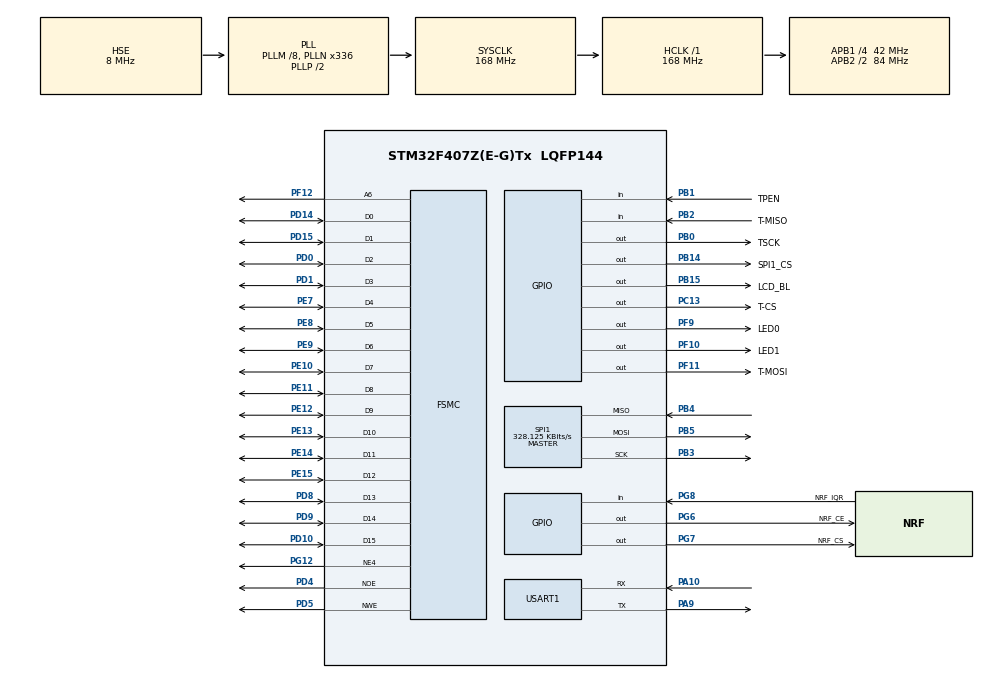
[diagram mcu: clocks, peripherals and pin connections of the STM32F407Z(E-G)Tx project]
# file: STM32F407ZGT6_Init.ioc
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FSMC.AddressSetupTime1=0x0F
FSMC.BusTurnAroundDuration1=0
FSMC.DataSetupTime1=60
FSMC.ExtendedAddressSetupTime1=9
FSMC.ExtendedBusTurnAroundDuration1=0
FSMC.ExtendedDataSetupTime1=9
FSMC.ExtendedMode1=FSMC_EXTENDED_MODE_ENABLE
Mcu.Family=STM32F4
Mcu.Name=STM32F407Z(E-G)Tx
Mcu.Package=LQFP144
NVIC.PriorityGroup=NVIC_PRIORITYGROUP_4
NVIC.USART1_IRQn=true\:2\:0\:true\:false\:true\:true\:true\:true
PA10.Mode=Asynchronous
PA10.Signal=USART1_RX
PA13.Mode=Serial_Wire
PA13.Signal=SYS_JTMS-SWDIO
PA14.Mode=Serial_Wire
PA14.Signal=SYS_JTCK-SWCLK
PA9.Mode=Asynchronous
PA9.Signal=USART1_TX
PB0.GPIO_Label=TSCK
PB0.Signal=GPIO_Output
PB1.GPIO_Label=TPEN
PB1.GPIO_PuPd=GPIO_PULLUP
PB1.Signal=GPIO_Input
PB14.GPIO_Label=SPI1_CS
PB14.GPIO_PuPd=GPIO_PULLUP
PB14.GPIO_Speed=GPIO_SPEED_FREQ_MEDIUM
PB14.Signal=GPIO_Output
PB15.GPIO_Label=LCD_BL
PB15.Signal=GPIO_Output
PB2.GPIO_Label=T-MISO
PB2.GPIO_PuPd=GPIO_PULLUP
PB2.Signal=GPIO_Input
PB3.Mode=Full_Duplex_Master
PB3.Signal=SPI1_SCK
PB4.Mode=Full_Duplex_Master
PB4.Signal=SPI1_MISO
PB5.Mode=Full_Duplex_Master
PB5.Signal=SPI1_MOSI
PC13-ANTI_TAMP.GPIO_Label=T-CS
PC13-ANTI_TAMP.Signal=GPIO_Output
PD0.Signal=FSMC_D2_DA2
PD1.Signal=FSMC_D3_DA3
PD10.Signal=FSMC_D15_DA15
PD14.Signal=FSMC_D0_DA0
PD15.Signal=FSMC_D1_DA1
PD4.Signal=FSMC_NOE
PD5.Signal=FSMC_NWE
PD8.Signal=FSMC_D13_DA13
PD9.Signal=FSMC_D14_DA14
PE10.Signal=FSMC_D7_DA7
PE11.Signal=FSMC_D8_DA8
PE12.Signal=FSMC_D9_DA9
PE13.Signal=FSMC_D10_DA10
PE14.Signal=FSMC_D11_DA11
PE15.Signal=FSMC_D12_DA12
PE7.Signal=FSMC_D4_DA4
PE8.Signal=FSMC_D5_DA5
PE9.Signal=FSMC_D6_DA6
PF10.GPIO_Label=LED1
PF10.GPIO_PuPd=GPIO_PULLUP
PF10.Signal=GPIO_Output
PF11.GPIO_Label=T-MOSI
PF11.Signal=GPIO_Output
PF12.Signal=FSMC_A6
PF9.GPIO_Label=LED0
PF9.GPIO_PuPd=GPIO_PULLUP
PF9.Signal=GPIO_Output
PG12.Mode=NorPsramChipSelect4_1
PG12.Signal=FSMC_NE4
PG6.GPIO_Label=NRF_CE
PG6.GPIO_PuPd=GPIO_PULLUP
PG6.Signal=GPIO_Output
PG7.GPIO_Label=NRF_CS
PG7.GPIO_PuPd=GPIO_PULLUP
PG7.Signal=GPIO_Output
PG8.GPIO_Label=NRF_IQR
PG8.GPIO_PuPd=GPIO_PULLUP
PG8.Signal=GPIO_Input
PH0-OSC_IN.Mode=HSE-External-Oscillator
PH0-OSC_IN.Signal=RCC_OSC_IN
PH1-OSC_OUT.Mode=HSE-External-Oscillator
PH1-OSC_OUT.Signal=RCC_OSC_OUT
ProjectManager.HeapSize=0x800
ProjectManager.StackSize=0x1000
ProjectManager.TargetToolchain=MDK-ARM V5.32
RCC.48MHZClocksFreq_Value=84000000
RCC.AHBFreq_Value=168000000
RCC.APB1CLKDivider=RCC_HCLK_DIV4
RCC.APB1Freq_Value=42000000
RCC.APB1TimFreq_Value=84000000
RCC.APB2CLKDivider=RCC_HCLK_DIV2
RCC.APB2Freq_Value=84000000
RCC.APB2TimFreq_Value=168000000
RCC.CortexFreq_Value=168000000
RCC.HCLKFreq_Value=168000000
RCC.HSE_VALUE=8000000
RCC.HSI_VALUE=16000000
RCC.LSE_VALUE=32768
RCC.PLLM=8
RCC.PLLN=336
RCC.PLLSourceVirtual=RCC_PLLSOURCE_HSE
RCC.SYSCLKFreq_VALUE=168000000
RCC.SYSCLKSource=RCC_SYSCLKSOURCE_PLLCLK
RCC.VCOOutputFreq_Value=336000000
SH.FSMC_A6.0=FSMC_A6,A6_1
SH.FSMC_D0_DA0.0=FSMC_D0,16b-d1
SH.FSMC_D10_DA10.0=FSMC_D10,16b-d1
SH.FSMC_D11_DA11.0=FSMC_D11,16b-d1
SH.FSMC_D12_DA12.0=FSMC_D12,16b-d1
SH.FSMC_D13_DA13.0=FSMC_D13,16b-d1
SH.FSMC_D14_DA14.0=FSMC_D14,16b-d1
SH.FSMC_D15_DA15.0=FSMC_D15,16b-d1
SH.FSMC_D1_DA1.0=FSMC_D1,16b-d1
SH.FSMC_D2_DA2.0=FSMC_D2,16b-d1
SH.FSMC_D3_DA3.0=FSMC_D3,16b-d1
SH.FSMC_D4_DA4.0=FSMC_D4,16b-d1
SH.FSMC_D5_DA5.0=FSMC_D5,16b-d1
SH.FSMC_D6_DA6.0=FSMC_D6,16b-d1
SH.FSMC_D7_DA7.0=FSMC_D7,16b-d1
SH.FSMC_D8_DA8.0=FSMC_D8,16b-d1
SH.FSMC_D9_DA9.0=FSMC_D9,16b-d1
SH.FSMC_NOE.0=FSMC_NOE,Lcd1
SH.FSMC_NWE.0=FSMC_NWE,Lcd1
SPI1.BaudRatePrescaler=SPI_BAUDRATEPRESCALER_256
SPI1.CalculateBaudRate=328.125 KBits/s
SPI1.Direction=SPI_DIRECTION_2LINES
SPI1.Mode=SPI_MODE_MASTER
SPI1.VirtualType=VM_MASTER
TIM6.Prescaler=83
USART1.VirtualMode=VM_ASYNC
VP_TIM6_VS_ClockSourceINT.Mode=Enable_Timer
board=custom

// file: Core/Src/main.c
/* USER CODE BEGIN Header */
/**
  ******************************************************************************
  * @file           : main.c
  * @brief          : Main program body
  ******************************************************************************
  * @attention
  *
  * Copyright (c) 2024 STMicroelectronics.
  * All rights reserved.
  *
  * This software is licensed under terms that can be found in the LICENSE file
  * in the root directory of this software component.
  * If no LICENSE file comes with this software, it is provided AS-IS.
  *
  ******************************************************************************
  */
/* USER CODE END Header */
#include "main.h"
#include "spi.h"
#include "tim.h"
#include "usart.h"
#include "gpio.h"
#include "fsmc.h"

/* USER CODE BEGIN Includes */
#include "lcd.h"
#include "touch.h"
#include "nrf24L01.h"
/* USER CODE END Includes */

void SystemClock_Config(void);

int main(void)
{

  /* MCU Configuration--------------------------------------------------------*/

  /* Reset of all peripherals, Initializes the Flash interface and the Systick. */
  HAL_Init();

  /* Configure the system clock */
  SystemClock_Config();

  /* Initialize all configured peripherals */
  MX_GPIO_Init();
  MX_FSMC_Init();
  MX_USART1_UART_Init();
  MX_TIM6_Init();
  MX_SPI1_Init();
  /* USER CODE BEGIN 2 */
	LCD_Init();
	NRF24L01_Init();
	// 开启串口接收中断
  HAL_UART_Receive_IT(&huart1, (uint8_t *)&usart1Recv.recvData, 1);
	while(NRF24L01_Check());
	printf("NRF24L01 is detected.\r\n");
	Demo_Menu();
  /* USER CODE END 2 */

  /* Infinite loop */
  /* USER CODE BEGIN WHILE */
  while (1)
  {
		if(TP_Scan(1))
			printf("x is 0x%X,y is 0x%X\r\n",tp_dev.x[0],tp_dev.y[0]);
		if(usart1Recv.recvFlag == 1)
		{
			usart1Recv.recvFlag = 0;
			if(strcmp((const char*)usart1Recv.recvBuff, "LED\r") == 0)
			{
				// 发送数据
				printf("%s",usart1Recv.recvBuff);
				printf("temp is %d\r\n",temp);
				HAL_GPIO_TogglePin(LED0_GPIO_Port,LED0_Pin);
				HAL_GPIO_TogglePin(LED1_GPIO_Port,LED1_Pin);
			}
			if(strcmp((const char*)usart1Recv.recvBuff, "NRF\r") == 0)
			{
				// 发送数据
				printf("%s",usart1Recv.recvBuff);

			}
			// 发送数据
			printf("UART_FLAG\r\n");
			memset(usart1Recv.recvBuff,0,sizeof(usart1Recv.recvBuff));
		}
    /* USER CODE END WHILE */

  }
}

void SystemClock_Config(void)
{
  RCC_OscInitTypeDef RCC_OscInitStruct = {0};
  RCC_ClkInitTypeDef RCC_ClkInitStruct = {0};

  /** Configure the main internal regulator output voltage
  */
  __HAL_RCC_PWR_CLK_ENABLE();
  __HAL_PWR_VOLTAGESCALING_CONFIG(PWR_REGULATOR_VOLTAGE_SCALE1);

  /** Initializes the RCC Oscillators according to the specified parameters
  * in the RCC_OscInitTypeDef structure.
  */
  RCC_OscInitStruct.OscillatorType = RCC_OSCILLATORTYPE_HSE;
  RCC_OscInitStruct.HSEState = RCC_HSE_ON;
  RCC_OscInitStruct.PLL.PLLState = RCC_PLL_ON;
  RCC_OscInitStruct.PLL.PLLSource = RCC_PLLSOURCE_HSE;
  RCC_OscInitStruct.PLL.PLLM = 8;
  RCC_OscInitStruct.PLL.PLLN = 336;
  RCC_OscInitStruct.PLL.PLLP = RCC_PLLP_DIV2;
  RCC_OscInitStruct.PLL.PLLQ = 4;
  if (HAL_RCC_OscConfig(&RCC_OscInitStruct) != HAL_OK)
  {
    Error_Handler();
  }

  /** Initializes the CPU, AHB and APB buses clocks
  */
  RCC_ClkInitStruct.ClockType = RCC_CLOCKTYPE_HCLK|RCC_CLOCKTYPE_SYSCLK
                              |RCC_CLOCKTYPE_PCLK1|RCC_CLOCKTYPE_PCLK2;
  RCC_ClkInitStruct.SYSCLKSource = RCC_SYSCLKSOURCE_PLLCLK;
  RCC_ClkInitStruct.AHBCLKDivider = RCC_SYSCLK_DIV1;
  RCC_ClkInitStruct.APB1CLKDivider = RCC_HCLK_DIV4;
  RCC_ClkInitStruct.APB2CLKDivider = RCC_HCLK_DIV2;

  if (HAL_RCC_ClockConfig(&RCC_ClkInitStruct, FLASH_LATENCY_5) != HAL_OK)
  {
    Error_Handler();
  }
}

void Error_Handler(void)
{
  __disable_irq();
  while (1)
  {
  }
}
